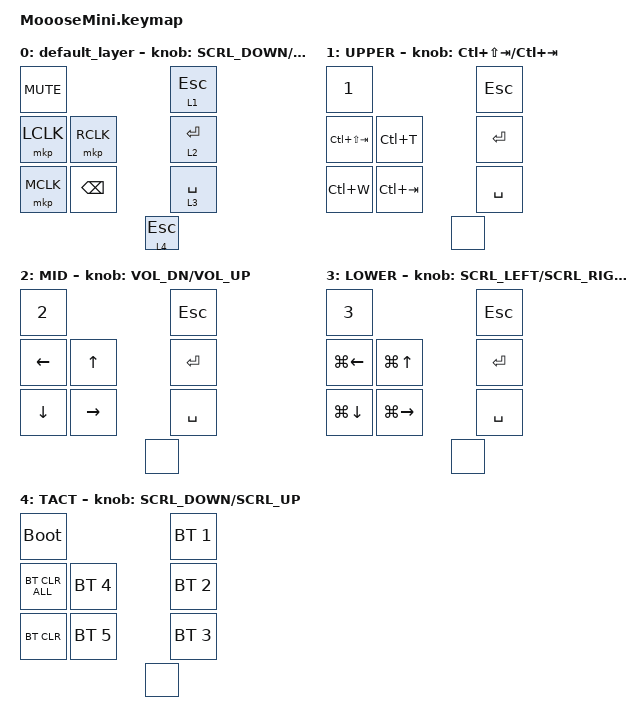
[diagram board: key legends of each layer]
#include <behaviors.dtsi>
#include <dt-bindings/zmk/bt.h>
#include <dt-bindings/zmk/keys.h>
#include <dt-bindings/zmk/mouse.h>
#include <dt-bindings/zmk/pointing.h>
#include <behaviors/rgbled_widget.dtsi>
#include <zephyr/dt-bindings/input/input-event-codes.h>

#define ZMK_POINTING_DEFAULT_SCRL_VAL 100

// Leyer
#define UPPER 1
#define MID 2
#define LOWER 3
#define TACT 4

// Japanese
#define JP_MINUS MINUS        // -
#define JP_CARET EQUAL        // ^
#define JP_YEN   INT3         // ¥
#define JP_AT    LBKT         // @
#define JP_LBKT  RBKT         // [
#define JP_EISU  CAPS         // Eisū (英数)
#define JP_SEMI  SEMI         // ;
#define JP_COLON SQT          // :
#define JP_RBKT  NUHS         // ]
#define JP_COMMA COMMA        // ,
#define JP_DOT   DOT          // .
#define JP_SLASH SLASH        // /
#define JP_MHEN  INT5         // Muhenkan (無変換)
#define JP_HENK  INT4         // Henkan (変換)
#define JP_EXCL  LS(N1)       // !
#define JP_DQT   LS(N2)       // "
#define JP_HASH  LS(N3)       // #
#define JP_DLLR  LS(N4)       // $
#define JP_PRCNT LS(N5)       // %
#define JP_AMPS  LS(N6)       // &
#define JP_SQT   LS(N7)       // '
#define JP_LPAR  LS(N8)       // (
#define JP_RPAR  LS(N9)       // )
#define JP_EQUAL LS(JP_MINUS) // =
#define JP_TILDE LS(JP_CARET) // ~
#define JP_PIPE  LS(JP_YEN)   // |
#define JP_GRAVE LS(JP_AT)    // `
#define JP_LBRC  LS(JP_LBKT)  // {
#define JP_CAPS  LS(JP_EISU)  // Caps Lock
#define JP_PLUS  LS(JP_SEMI)  // +
#define JP_ASTRK LS(JP_COLON) // *
#define JP_RBRC  LS(JP_RBKT)  // }
#define JP_LT    LS(JP_COMMA) // <
#define JP_RT    LS(JP_DOT)   // >
#define JP_QMARK LS(JP_SLASH) // ?
#define JP_UNDER LS(JP_BSLH)  // _


/ {
    macros {
        to_layer_0: to_layer_0 {
            compatible = "zmk,behavior-macro-one-param";
            #binding-cells = <1>;
            bindings = <&to 0 &macro_param_1to1 &kp MACRO_PLACEHOLDER>;
            label = "TO_LAYER_0";
        };
        mod_mclk: mod_mclk {
            compatible = "zmk,behavior-macro-one-param";
            #binding-cells = <1>;
            display-name = "Mod+MClick";
            bindings
                = <&macro_param_1to1>
                , <&macro_press &kp MACRO_PLACEHOLDER>
                , <&macro_press &mkp MCLK>
                , <&macro_pause_for_release>
                , <&macro_release &mkp MCLK>
                , <&macro_param_1to1>
                , <&macro_release &kp MACRO_PLACEHOLDER>;
        };
    };

    behaviors {
        lt_to_layer_0: lt_to_layer_0 {
            compatible = "zmk,behavior-hold-tap";
            label = "LAYER_TAP_TO_0";
            bindings = <&mo>, <&to_layer_0>;
            #binding-cells = <2>;
            tapping-term-ms = <200>;
        };
        rot_kp: sensor_rotate_kp {
            compatible = "zmk,behavior-sensor-rotate-var";
            #sensor-binding-cells = <2>;
            bindings = <&kp>, <&kp>;
        };
        rot_mkp: sensor_rotate_mkp {
            compatible = "zmk,behavior-sensor-rotate-var";
            #sensor-binding-cells = <2>;
            bindings = <&mkp>, <&mkp>;
        };
        mouse_scroll: mouse_wheel_scrl{
            compatible = "zmk,behavior-sensor-rotate-var";
            #sensor-binding-cells = <2>;
            bindings = <&msc>, <&msc>;
            tap-ms = <20>;
        };
    };

    keymap {
        compatible = "zmk,keymap";
        default_layer {
            bindings = <
                &kp C_MUTE                &lt_to_layer_0 1 ESC
                &mkp LCLK   &mkp RCLK     &lt_to_layer_0 2 ENTER
                &mkp MCLK   &kp BACKSPACE &lt_to_layer_0 3 SPACE
                                          &lt_to_layer_0 4 ESC
            >;
            sensor-bindings = <&mouse_scroll SCRL_DOWN SCRL_UP>;
        };
        UPPER {
            bindings = <
                &kp 1                           &kp ESC
                &kp LC(LS(TAB))   &kp LC(T)     &kp ENTER
                &kp LC(W)         &kp LC(TAB)   &kp SPACE
                                                &none
            >;
            sensor-bindings = <&inc_dec_kp LC(LS(TAB)) LC(TAB)>;
        };
        MID {
            bindings = <
                &kp 2                      &kp ESC
                &kp LEFT     &kp UP        &kp ENTER
                &kp DOWN     &kp RIGHT     &kp SPACE
                                           &none
            >;
            sensor-bindings = <&inc_dec_kp C_VOL_DN C_VOL_UP>;
        };
        LOWER {
            bindings = <
                &kp 3                            &kp ESC
                &kp LG(LEFT)     &kp LG(UP)      &kp ENTER
                &kp LG(DOWN)     &kp LG(RIGHT)   &kp SPACE
                                                 &none
            >;
            sensor-bindings = <&mouse_scroll SCRL_LEFT SCRL_RIGHT>;
        };
        TACT {
            bindings = <
                &bootloader                     &bt BT_SEL 1
                &bt BT_CLR_ALL   &bt BT_SEL 4   &bt BT_SEL 2
                &bt BT_CLR       &bt BT_SEL 5   &bt BT_SEL 3
                                                &none
            >;
            sensor-bindings = <&mouse_scroll SCRL_DOWN SCRL_UP>;
        };
    };

};
